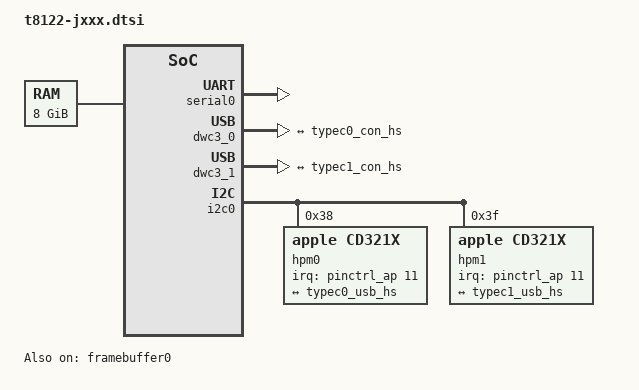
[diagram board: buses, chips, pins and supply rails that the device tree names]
// SPDX-License-Identifier: GPL-2.0+ OR MIT
/*
 * Apple M3 MacBook Air/Pro and iMac (M3, 2023/2024)
 *
 * This file contains parts common to all Apple M3 devices using the t8122.
 *
 * target-type: J433, J434, J504, J513, J515
 *
 * Copyright The Asahi Linux Contributors
 */

/ {
	aliases {
		// atcphy0 = &atcphy0;
		serial0 = &serial0;
	};

	chosen {
		#address-cells = <2>;
		#size-cells = <2>;
		ranges;

		simple-framebuffer = &framebuffer0;
	};

	framebuffer0: framebuffer@103d3858000 {
		compatible = "simple-framebuffer";
		reg = <0x103 0xd3858000 0x0 0x16a7f00>;
		width = <3024>;
		height = <1964>;
		stride = <12096>;
		format = "x2r10g10b10";
		//power-domains = <&ps_disp_cpu>;
		status = "okay";
	};

	reserved-memory {
		#address-cells = <2>;
		#size-cells = <2>;
		ranges;
		/* To be filled by loader */
	};

	memory@800000000 {
		device_type = "memory";
		reg = <0x8 0 0x2 0>; /* To be filled by loader */
	};
};

&serial0 {
	status = "okay";
};

/* USB controllers */
&dwc3_0 {
	port {
		typec0_usb_hs: endpoint {
			remote-endpoint = <&typec0_con_hs>;
		};
	};
};

&dwc3_1 {
	port {
		typec1_usb_hs: endpoint {
			remote-endpoint = <&typec1_con_hs>;
		};
	};
};

&i2c0 {
	status = "okay";

	hpm0: usb-pd@38 {
		compatible = "apple,cd321x";
		reg = <0x38>;
		interrupt-parent = <&pinctrl_ap>;
		interrupts = <11 IRQ_TYPE_LEVEL_LOW>;
		interrupt-names = "irq";

		typec0: connector {
			compatible = "usb-c-connector";
			power-role = "dual";
			data-role = "dual";

			ports {
				#address-cells = <1>;
				#size-cells = <0>;
				port@0 {
					reg = <0>;
					typec0_con_hs: endpoint {
						remote-endpoint = <&typec0_usb_hs>;
					};
				};
			};
		};
	};

	hpm1: usb-pd@3f {
		compatible = "apple,cd321x";
		reg = <0x3f>;
		interrupt-parent = <&pinctrl_ap>;
		interrupts = <11 IRQ_TYPE_LEVEL_LOW>;
		interrupt-names = "irq";

		typec1: connector {
			compatible = "usb-c-connector";
			power-role = "dual";
			data-role = "dual";

			ports {
				#address-cells = <1>;
				#size-cells = <0>;
				port@0 {
					reg = <0>;
					typec1_con_hs: endpoint {
						remote-endpoint = <&typec1_usb_hs>;
					};
				};
			};
		};
	};

};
